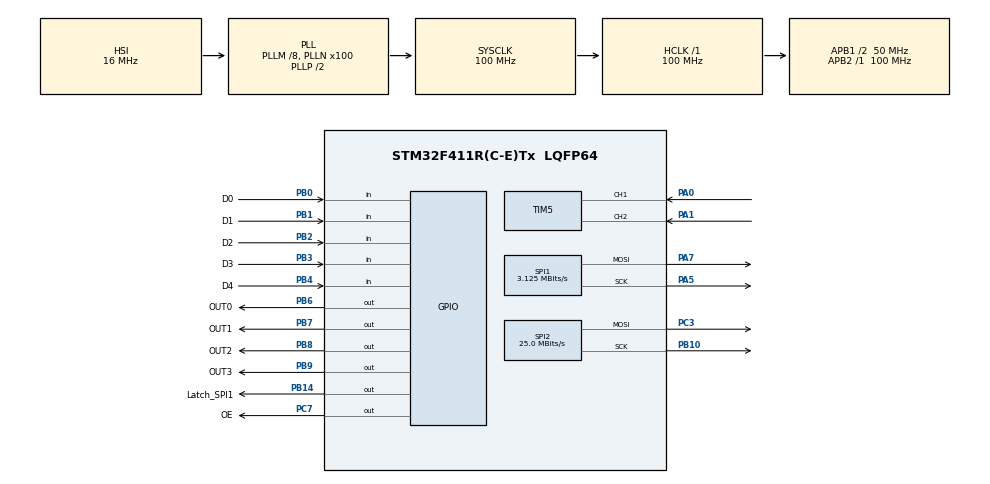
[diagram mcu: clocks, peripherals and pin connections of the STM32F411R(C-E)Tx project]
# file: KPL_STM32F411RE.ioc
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FREERTOS.Tasks01=Led3x6Task,24,128,Led3x6Run,Default,NULL,Dynamic,NULL,NULL;KeyPad4x5Task,40,128,KeyPad4x5Run,Default,NULL,Dynamic,NULL,NULL;EncoderTask,41,128,EncoderRun,Default,NULL,Dynamic,NULL,NULL
FREERTOS.configUSE_NEWLIB_REENTRANT=1
Mcu.Family=STM32F4
Mcu.Name=STM32F411R(C-E)Tx
Mcu.Package=LQFP64
NVIC.PriorityGroup=NVIC_PRIORITYGROUP_4
NVIC.TIM2_IRQn=true\:15\:0\:false\:false\:true\:false\:false\:true\:true
NVIC.TIM5_IRQn=true\:5\:0\:false\:false\:true\:true\:true\:true\:true
NVIC.TimeBase=TIM2_IRQn
NVIC.TimeBaseIP=TIM2
PA0-WKUP.Signal=S_TIM5_CH1
PA1.Signal=S_TIM5_CH2
PA13.Mode=Serial_Wire
PA13.Signal=SYS_JTMS-SWDIO
PA14.Mode=Serial_Wire
PA14.Signal=SYS_JTCK-SWCLK
PA5.Mode=TX_Only_Simplex_Unidirect_Master
PA5.Signal=SPI1_SCK
PA7.Mode=TX_Only_Simplex_Unidirect_Master
PA7.Signal=SPI1_MOSI
PB0.GPIO_Label=D0
PB0.GPIO_PuPd=GPIO_PULLUP
PB0.Signal=GPIO_Input
PB1.GPIO_Label=D1
PB1.GPIO_PuPd=GPIO_PULLUP
PB1.Signal=GPIO_Input
PB10.Mode=TX_Only_Simplex_Unidirect_Master
PB10.Signal=SPI2_SCK
PB14.GPIO_Label=Latch_SPI1
PB14.Signal=GPIO_Output
PB2.GPIO_Label=D2
PB2.GPIO_PuPd=GPIO_PULLUP
PB2.Signal=GPIO_Input
PB3.GPIO_Label=D3
PB3.GPIO_PuPd=GPIO_PULLUP
PB3.Signal=GPIO_Input
PB4.GPIO_Label=D4
PB4.GPIO_PuPd=GPIO_PULLUP
PB4.Signal=GPIO_Input
PB6.GPIO_Label=OUT0
PB6.Signal=GPIO_Output
PB7.GPIO_Label=OUT1
PB7.Signal=GPIO_Output
PB8.GPIO_Label=OUT2
PB8.Signal=GPIO_Output
PB9.GPIO_Label=OUT3
PB9.Signal=GPIO_Output
PC3.Mode=TX_Only_Simplex_Unidirect_Master
PC3.Signal=SPI2_MOSI
PC7.GPIO_Label=OE
PC7.Signal=GPIO_Output
PH0\ -\ OSC_IN.Mode=HSE-External-Oscillator
PH0\ -\ OSC_IN.Signal=RCC_OSC_IN
PH1\ -\ OSC_OUT.Mode=HSE-External-Oscillator
PH1\ -\ OSC_OUT.Signal=RCC_OSC_OUT
ProjectManager.HeapSize=0x200
ProjectManager.StackSize=0x400
ProjectManager.TargetToolchain=STM32CubeIDE
RCC.48MHZClocksFreq_Value=50000000
RCC.AHBFreq_Value=100000000
RCC.APB1CLKDivider=RCC_HCLK_DIV2
RCC.APB1Freq_Value=50000000
RCC.APB1TimFreq_Value=100000000
RCC.APB2Freq_Value=100000000
RCC.APB2TimFreq_Value=100000000
RCC.CortexFreq_Value=100000000
RCC.HCLKFreq_Value=100000000
RCC.HSE_VALUE=25000000
RCC.HSI_VALUE=16000000
RCC.LSE_VALUE=32768
RCC.PLLM=8
RCC.PLLN=100
RCC.SYSCLKFreq_VALUE=100000000
RCC.SYSCLKSource=RCC_SYSCLKSOURCE_PLLCLK
RCC.VCOOutputFreq_Value=200000000
SH.S_TIM5_CH1.0=TIM5_CH1,Encoder_Interface
SH.S_TIM5_CH2.0=TIM5_CH2,Encoder_Interface
SPI1.BaudRatePrescaler=SPI_BAUDRATEPRESCALER_32
SPI1.CalculateBaudRate=3.125 MBits/s
SPI1.DataSize=SPI_DATASIZE_8BIT
SPI1.Direction=SPI_DIRECTION_2LINES
SPI1.Mode=SPI_MODE_MASTER
SPI1.VirtualType=VM_MASTER
SPI2.CalculateBaudRate=25.0 MBits/s
SPI2.Direction=SPI_DIRECTION_2LINES
SPI2.Mode=SPI_MODE_MASTER
SPI2.VirtualType=VM_MASTER
TIM5.EncoderMode=TIM_ENCODERMODE_TI12
TIM5.IC1Polarity=TIM_ICPOLARITY_FALLING
TIM5.IC2Polarity=TIM_ICPOLARITY_FALLING
VP_FREERTOS_VS_CMSIS_V2.Mode=CMSIS_V2
VP_SYS_VS_tim2.Mode=TIM2
board=custom

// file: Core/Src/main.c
/* USER CODE BEGIN Header */
/**
  ******************************************************************************
  * @file           : main.c
  * @brief          : Main program body
  ******************************************************************************
  * @attention
  *
  * Copyright (c) 2024 STMicroelectronics.
  * All rights reserved.
  *
  * This software is licensed under terms that can be found in the LICENSE file
  * in the root directory of this software component.
  * If no LICENSE file comes with this software, it is provided AS-IS.
  *
  ******************************************************************************
  */
/* USER CODE END Header */
#include "main.h"
#include "cmsis_os.h"

/* USER CODE BEGIN Includes */
#include "KeyPad.h"
#include "LED3x6.h"
#include "SPI_shift.h"
#include <stdio.h>
#include <string.h>
/* USER CODE END Includes */

SPI_HandleTypeDef hspi1;
SPI_HandleTypeDef hspi2;

TIM_HandleTypeDef htim5;

/* Definitions for Led3x6Task */
osThreadId_t Led3x6TaskHandle;
const osThreadAttr_t Led3x6Task_attributes = {
  .name = "Led3x6Task",
  .stack_size = 128 * 4,
  .priority = (osPriority_t) osPriorityNormal,
};
/* Definitions for KeyPad4x5Task */
osThreadId_t KeyPad4x5TaskHandle;
const osThreadAttr_t KeyPad4x5Task_attributes = {
  .name = "KeyPad4x5Task",
  .stack_size = 128 * 4,
  .priority = (osPriority_t) osPriorityHigh,
};
/* Definitions for EncoderTask */
osThreadId_t EncoderTaskHandle;
const osThreadAttr_t EncoderTask_attributes = {
  .name = "EncoderTask",
  .stack_size = 128 * 4,
  .priority = (osPriority_t) osPriorityHigh1,
};

void SystemClock_Config(void);
static void MX_GPIO_Init(void);
static void MX_SPI1_Init(void);
static void MX_SPI2_Init(void);
static void MX_TIM5_Init(void);
void Led3x6Run(void *argument);
void KeyPad4x5Run(void *argument);
void EncoderRun(void *argument);

/* USER CODE BEGIN 0 */

uint32_t password = 345;
long unsigned int totalLiters = 25173777; //theo đơn vị ml tức là 1000 = 1 lít
long unsigned int totalLitersShift = 123456;   //lít trong ca, có thể được reset khi giao ca
long unsigned int histTotalLiters[5] = {111111,222222,333333,444444,555555};
uint32_t currPrice = 24000; // Giá xăng trên lít hiện tại (vnđ/L)
uint32_t roundedPrice = 24000;

uint32_t orderPrice=0;		// Giá auto set
float orderLiter=0;

uint8_t IDvoi = 11;			//địa chỉ ID của vòi từ 11 -> 47

uint32_t F1Price=10000;
uint32_t F2Price=15000;
uint32_t F3Price=20000;
uint32_t F4Price=50000;

int LEDPointFlag = 6; //No LEDs have point

uint32_t encoder_value = 100;
uint32_t last_encoder_value = 0;
uint32_t stable_count = 0;
const uint32_t debounce_threshold = 5;

/* USER CODE END 0 */

int main(void)
{

  /* MCU Configuration--------------------------------------------------------*/

  /* Reset of all peripherals, Initializes the Flash interface and the Systick. */
  HAL_Init();

  /* Configure the system clock */
  SystemClock_Config();

  /* Initialize all configured peripherals */
  MX_GPIO_Init();
  MX_SPI1_Init();
  MX_SPI2_Init();
  MX_TIM5_Init();

  /* Init scheduler */
  osKernelInitialize();

  /* Create the thread(s) */
  /* creation of Led3x6Task */
  Led3x6TaskHandle = osThreadNew(Led3x6Run, NULL, &Led3x6Task_attributes);

  /* creation of KeyPad4x5Task */
  KeyPad4x5TaskHandle = osThreadNew(KeyPad4x5Run, NULL, &KeyPad4x5Task_attributes);

  /* creation of EncoderTask */
  EncoderTaskHandle = osThreadNew(EncoderRun, NULL, &EncoderTask_attributes);

  /* Start scheduler */
  osKernelStart();

  /* We should never get here as control is now taken by the scheduler */

  /* Infinite loop */
  while (1)
  {

  }
}

void SystemClock_Config(void)
{
  RCC_OscInitTypeDef RCC_OscInitStruct = {0};
  RCC_ClkInitTypeDef RCC_ClkInitStruct = {0};

  /** Configure the main internal regulator output voltage
  */
  __HAL_RCC_PWR_CLK_ENABLE();
  __HAL_PWR_VOLTAGESCALING_CONFIG(PWR_REGULATOR_VOLTAGE_SCALE1);

  /** Initializes the RCC Oscillators according to the specified parameters
  * in the RCC_OscInitTypeDef structure.
  */
  RCC_OscInitStruct.OscillatorType = RCC_OSCILLATORTYPE_HSI;
  RCC_OscInitStruct.HSIState = RCC_HSI_ON;
  RCC_OscInitStruct.HSICalibrationValue = RCC_HSICALIBRATION_DEFAULT;
  RCC_OscInitStruct.PLL.PLLState = RCC_PLL_ON;
  RCC_OscInitStruct.PLL.PLLSource = RCC_PLLSOURCE_HSI;
  RCC_OscInitStruct.PLL.PLLM = 8;
  RCC_OscInitStruct.PLL.PLLN = 100;
  RCC_OscInitStruct.PLL.PLLP = RCC_PLLP_DIV2;
  RCC_OscInitStruct.PLL.PLLQ = 4;
  if (HAL_RCC_OscConfig(&RCC_OscInitStruct) != HAL_OK)
  {
    Error_Handler();
  }

  /** Initializes the CPU, AHB and APB buses clocks
  */
  RCC_ClkInitStruct.ClockType = RCC_CLOCKTYPE_HCLK|RCC_CLOCKTYPE_SYSCLK
                              |RCC_CLOCKTYPE_PCLK1|RCC_CLOCKTYPE_PCLK2;
  RCC_ClkInitStruct.SYSCLKSource = RCC_SYSCLKSOURCE_PLLCLK;
  RCC_ClkInitStruct.AHBCLKDivider = RCC_SYSCLK_DIV1;
  RCC_ClkInitStruct.APB1CLKDivider = RCC_HCLK_DIV2;
  RCC_ClkInitStruct.APB2CLKDivider = RCC_HCLK_DIV1;

  if (HAL_RCC_ClockConfig(&RCC_ClkInitStruct, FLASH_LATENCY_3) != HAL_OK)
  {
    Error_Handler();
  }
}

static void MX_SPI1_Init(void)
{

  /* SPI1 parameter configuration*/
  hspi1.Instance = SPI1;
  hspi1.Init.Mode = SPI_MODE_MASTER;
  hspi1.Init.Direction = SPI_DIRECTION_2LINES;
  hspi1.Init.DataSize = SPI_DATASIZE_8BIT;
  hspi1.Init.CLKPolarity = SPI_POLARITY_LOW;
  hspi1.Init.CLKPhase = SPI_PHASE_1EDGE;
  hspi1.Init.NSS = SPI_NSS_SOFT;
  hspi1.Init.BaudRatePrescaler = SPI_BAUDRATEPRESCALER_32;
  hspi1.Init.FirstBit = SPI_FIRSTBIT_MSB;
  hspi1.Init.TIMode = SPI_TIMODE_DISABLE;
  hspi1.Init.CRCCalculation = SPI_CRCCALCULATION_DISABLE;
  hspi1.Init.CRCPolynomial = 10;
  if (HAL_SPI_Init(&hspi1) != HAL_OK)
  {
    Error_Handler();
  }

}

static void MX_SPI2_Init(void)
{

  /* SPI2 parameter configuration*/
  hspi2.Instance = SPI2;
  hspi2.Init.Mode = SPI_MODE_MASTER;
  hspi2.Init.Direction = SPI_DIRECTION_2LINES;
  hspi2.Init.DataSize = SPI_DATASIZE_8BIT;
  hspi2.Init.CLKPolarity = SPI_POLARITY_LOW;
  hspi2.Init.CLKPhase = SPI_PHASE_1EDGE;
  hspi2.Init.NSS = SPI_NSS_SOFT;
  hspi2.Init.BaudRatePrescaler = SPI_BAUDRATEPRESCALER_2;
  hspi2.Init.FirstBit = SPI_FIRSTBIT_MSB;
  hspi2.Init.TIMode = SPI_TIMODE_DISABLE;
  hspi2.Init.CRCCalculation = SPI_CRCCALCULATION_DISABLE;
  hspi2.Init.CRCPolynomial = 10;
  if (HAL_SPI_Init(&hspi2) != HAL_OK)
  {
    Error_Handler();
  }

}

static void MX_TIM5_Init(void)
{

  TIM_Encoder_InitTypeDef sConfig = {0};
  TIM_MasterConfigTypeDef sMasterConfig = {0};

  htim5.Instance = TIM5;
  htim5.Init.Prescaler = 0;
  htim5.Init.CounterMode = TIM_COUNTERMODE_UP;
  htim5.Init.Period = 4294967295;
  htim5.Init.ClockDivision = TIM_CLOCKDIVISION_DIV1;
  htim5.Init.AutoReloadPreload = TIM_AUTORELOAD_PRELOAD_DISABLE;
  sConfig.EncoderMode = TIM_ENCODERMODE_TI12;
  sConfig.IC1Polarity = TIM_ICPOLARITY_FALLING;
  sConfig.IC1Selection = TIM_ICSELECTION_DIRECTTI;
  sConfig.IC1Prescaler = TIM_ICPSC_DIV1;
  sConfig.IC1Filter = 0;
  sConfig.IC2Polarity = TIM_ICPOLARITY_FALLING;
  sConfig.IC2Selection = TIM_ICSELECTION_DIRECTTI;
  sConfig.IC2Prescaler = TIM_ICPSC_DIV1;
  sConfig.IC2Filter = 0;
  if (HAL_TIM_Encoder_Init(&htim5, &sConfig) != HAL_OK)
  {
    Error_Handler();
  }
  sMasterConfig.MasterOutputTrigger = TIM_TRGO_RESET;
  sMasterConfig.MasterSlaveMode = TIM_MASTERSLAVEMODE_DISABLE;
  if (HAL_TIMEx_MasterConfigSynchronization(&htim5, &sMasterConfig) != HAL_OK)
  {
    Error_Handler();
  }
  /* USER CODE BEGIN TIM5_Init 2 */
  HAL_NVIC_SetPriority(TIM5_IRQn, 5, 0);
  HAL_NVIC_EnableIRQ(TIM5_IRQn);
  /* USER CODE END TIM5_Init 2 */

}

static void MX_GPIO_Init(void)
{
  GPIO_InitTypeDef GPIO_InitStruct = {0};

  /* GPIO Ports Clock Enable */
  __HAL_RCC_GPIOH_CLK_ENABLE();
  __HAL_RCC_GPIOC_CLK_ENABLE();
  __HAL_RCC_GPIOA_CLK_ENABLE();
  __HAL_RCC_GPIOB_CLK_ENABLE();

  /*Configure GPIO pin Output Level */
  HAL_GPIO_WritePin(GPIOB, Latch_SPI1_Pin|OUT0_Pin|OUT1_Pin|OUT2_Pin
                          |OUT3_Pin, GPIO_PIN_RESET);

  /*Configure GPIO pin Output Level */
  HAL_GPIO_WritePin(OE_GPIO_Port, OE_Pin, GPIO_PIN_RESET);

  /*Configure GPIO pins : D0_Pin D1_Pin D2_Pin D3_Pin
                           D4_Pin */
  GPIO_InitStruct.Pin = D0_Pin|D1_Pin|D2_Pin|D3_Pin
                          |D4_Pin;
  GPIO_InitStruct.Mode = GPIO_MODE_INPUT;
  GPIO_InitStruct.Pull = GPIO_PULLUP;
  HAL_GPIO_Init(GPIOB, &GPIO_InitStruct);

  /*Configure GPIO pins : Latch_SPI1_Pin OUT0_Pin OUT1_Pin OUT2_Pin
                           OUT3_Pin */
  GPIO_InitStruct.Pin = Latch_SPI1_Pin|OUT0_Pin|OUT1_Pin|OUT2_Pin
                          |OUT3_Pin;
  GPIO_InitStruct.Mode = GPIO_MODE_OUTPUT_PP;
  GPIO_InitStruct.Pull = GPIO_NOPULL;
  GPIO_InitStruct.Speed = GPIO_SPEED_FREQ_LOW;
  HAL_GPIO_Init(GPIOB, &GPIO_InitStruct);

  /*Configure GPIO pin : OE_Pin */
  GPIO_InitStruct.Pin = OE_Pin;
  GPIO_InitStruct.Mode = GPIO_MODE_OUTPUT_PP;
  GPIO_InitStruct.Pull = GPIO_NOPULL;
  GPIO_InitStruct.Speed = GPIO_SPEED_FREQ_LOW;
  HAL_GPIO_Init(OE_GPIO_Port, &GPIO_InitStruct);

}

void Led3x6Run(void *argument)
{
  /* USER CODE BEGIN 5 */

  /* Infinite loop */

	uint8_t clear_buffer[5] = {0b11111111,0b11111111,0b11111111,0b11111111,0b11111111};
  for(;;)
  {
	  SevenSegLEDsScan();
	  osDelay(1);
	  ShiftOut_SPI(clear_buffer, 5);

//	  SevenSegLEDsScan();
	  osDelay(1);
  }
  /* USER CODE END 5 */
}

void KeyPad4x5Run(void *argument)
{
  /* USER CODE BEGIN KeyPad4x5Run */
  /* Infinite loop */
  for(;;)
  {
	 KeyLogic();
	 KeyLogic_Action();
	 osDelay(1);
  }
  /* USER CODE END KeyPad4x5Run */
}

void EncoderRun(void *argument)
{
  /* USER CODE BEGIN EncoderRun */
  /* Infinite loop */
  for(;;)
  {
	  ulTaskNotifyTake(pdTRUE, portMAX_DELAY);
	  	      uint32_t current_value = __HAL_TIM_GET_COUNTER(&htim5);

	  	      if (current_value == last_encoder_value)
	  	      {
	  	        stable_count++;
	  	        if (stable_count >= debounce_threshold)
	  	        {
	  	          encoder_value = current_value;
	  	          stable_count = 0;
	  	        }
	  	      }
	  	      else
	  	      {
	  	        stable_count = 0;
	  	      }
	  	      last_encoder_value = current_value;
	  	      osDelay(1);

  }
  /* USER CODE END EncoderRun */
}

void HAL_TIM_PeriodElapsedCallback(TIM_HandleTypeDef *htim)
{
  if (htim->Instance == TIM2) {
    HAL_IncTick();
  }
}

void HAL_TIM_IC_CaptureCallback(TIM_HandleTypeDef *htim) {
	  if (htim->Instance == TIM5) {
	    BaseType_t xHigherPriorityTaskWoken = pdFALSE;
	    vTaskNotifyGiveFromISR(EncoderTaskHandle, &xHigherPriorityTaskWoken);
	    portYIELD_FROM_ISR(xHigherPriorityTaskWoken);
	  }
}
void Error_Handler(void)
{
  __disable_irq();
  while (1)
  {
  }
}
